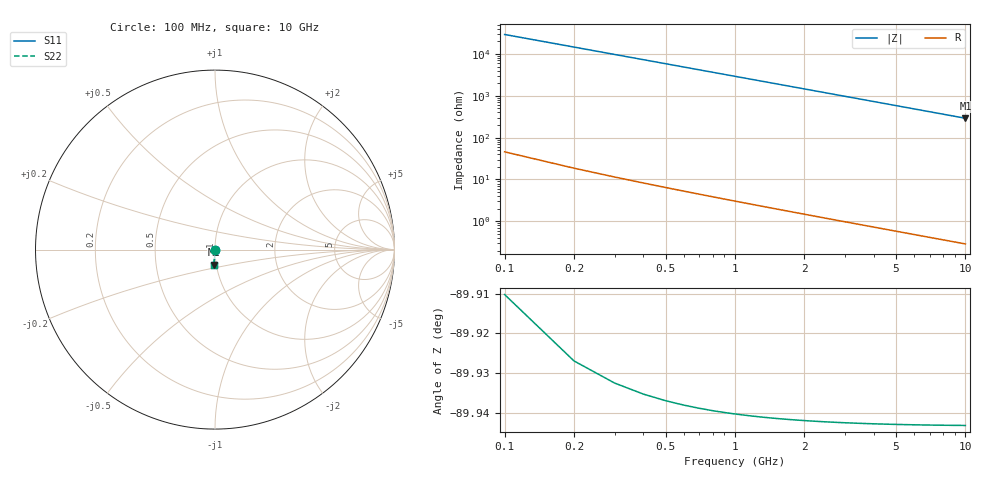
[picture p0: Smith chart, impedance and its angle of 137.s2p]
# Hz S RI R 50.00
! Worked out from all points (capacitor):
!   100 points, 100 MHz to 10 GHz, reference 50 ohm
!   read as one part in shunt: C = 54.5 fF near 100 MHz
!   lowest |Z| = 290 ohm at 10 GHz (marker M1)
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1e8  5.34e-06 -0.000834  1 -0.000879  1 -0.000879  5.34e-06 -0.000834
2e8  2.34e-06 -0.00167  1 -0.00176  1 -0.00176  2.34e-06 -0.00167
3e8  -2.13e-06 -0.0025  1 -0.00264  1 -0.00264  -2.13e-06 -0.0025
4e8  -8.08e-06 -0.00334  1 -0.00352  1 -0.00352  -8.08e-06 -0.00334
5e8  -1.55e-05 -0.00417  1 -0.0044  1 -0.0044  -1.55e-05 -0.00417
6e8  -2.44e-05 -0.005  1 -0.00528  1 -0.00528  -2.44e-05 -0.005
7e8  -3.47e-05 -0.00584  0.9999 -0.00616  0.9999 -0.00616  -3.47e-05 -0.00584
8e8  -4.66e-05 -0.00667  0.9999 -0.00704  0.9999 -0.00704  -4.66e-05 -0.00667
9e8  -5.99e-05 -0.00751  0.9999 -0.00792  0.9999 -0.00792  -5.99e-05 -0.00751
1.1e9  -9.09e-05 -0.00918  0.9999 -0.00968  0.9999 -0.00968  -9.09e-05 -0.00918
1.4e9  -0.000148 -0.0117  0.9998 -0.0123  0.9998 -0.0123  -0.000148 -0.0117
1.8e9  -0.000246 -0.015  0.9997 -0.0158  0.9997 -0.0158  -0.000246 -0.015
2.1e9  -0.000334 -0.0175  0.9996 -0.0185  0.9996 -0.0185  -0.000334 -0.0175
2.5e9  -0.000473 -0.0209  0.9995 -0.022  0.9995 -0.022  -0.000473 -0.0209
2.9e9  -0.000635 -0.0242  0.9993 -0.0255  0.9993 -0.0255  -0.000635 -0.0242
3.4e9  -0.000871 -0.0284  0.9991 -0.0299  0.9991 -0.0299  -0.000871 -0.0284
4.2e9  -0.00132 -0.035  0.9987 -0.037  0.9987 -0.037  -0.00132 -0.035
5.1e9  -0.00195 -0.0425  0.998 -0.0449  0.998 -0.0449  -0.00195 -0.0425
5.9e9  -0.0026 -0.0492  0.9974 -0.0519  0.9974 -0.0519  -0.0026 -0.0492
6.7e9  -0.00335 -0.0559  0.9966 -0.0589  0.9966 -0.0589  -0.00335 -0.0559
8.4e9  -0.00525 -0.0699  0.9947 -0.0738  0.9947 -0.0738  -0.00525 -0.0699
1e10  -0.00743 -0.0831  0.9925 -0.0878  0.9925 -0.0878  -0.00743 -0.0831
